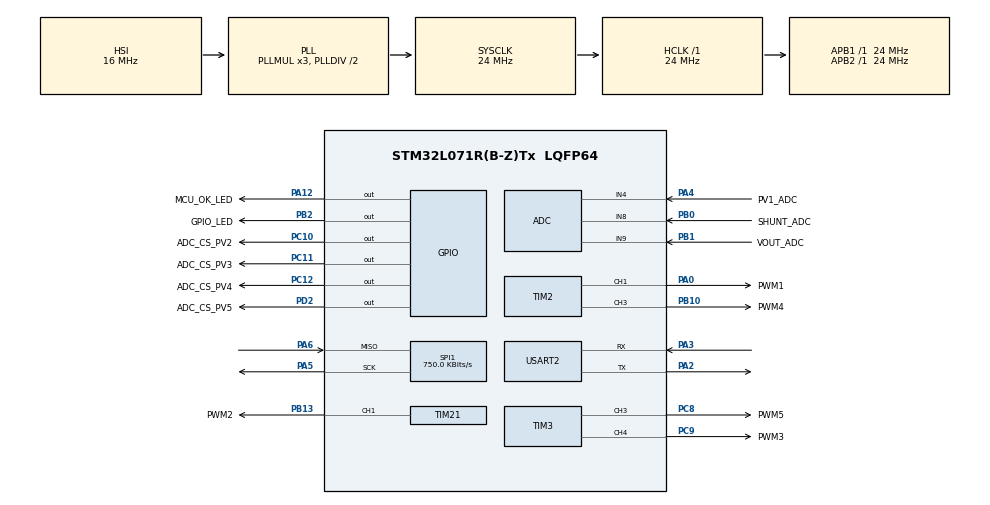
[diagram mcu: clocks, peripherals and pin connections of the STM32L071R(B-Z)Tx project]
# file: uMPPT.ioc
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Dma.Request0=USART2_RX
Dma.Request1=SPI1_RX
Dma.SPI1_RX.1.Direction=DMA_PERIPH_TO_MEMORY
Dma.SPI1_RX.1.Instance=DMA1_Channel2
Dma.SPI1_RX.1.MemDataAlignment=DMA_MDATAALIGN_HALFWORD
Dma.SPI1_RX.1.MemInc=DMA_MINC_ENABLE
Dma.SPI1_RX.1.Mode=DMA_NORMAL
Dma.SPI1_RX.1.PeriphDataAlignment=DMA_PDATAALIGN_HALFWORD
Dma.SPI1_RX.1.PeriphInc=DMA_PINC_DISABLE
Dma.SPI1_RX.1.Priority=DMA_PRIORITY_LOW
Dma.USART2_RX.0.Direction=DMA_PERIPH_TO_MEMORY
Dma.USART2_RX.0.Instance=DMA1_Channel5
Dma.USART2_RX.0.MemDataAlignment=DMA_MDATAALIGN_BYTE
Dma.USART2_RX.0.MemInc=DMA_MINC_ENABLE
Dma.USART2_RX.0.Mode=DMA_NORMAL
Dma.USART2_RX.0.PeriphDataAlignment=DMA_PDATAALIGN_BYTE
Dma.USART2_RX.0.PeriphInc=DMA_PINC_DISABLE
Dma.USART2_RX.0.Priority=DMA_PRIORITY_LOW
Mcu.Family=STM32L0
Mcu.Name=STM32L071R(B-Z)Tx
Mcu.Package=LQFP64
NVIC.DMA1_Channel2_3_IRQn=true\:0\:0\:false\:false\:true\:false\:true\:true
NVIC.DMA1_Channel4_5_6_7_IRQn=true\:0\:0\:false\:false\:true\:false\:true\:true
PA0.GPIO_Label=PWM1
PA0.Signal=S_TIM2_CH1
PA12.GPIO_Label=MCU_OK_LED
PA12.Signal=GPIO_Output
PA13.Mode=Serial_Wire
PA13.Signal=SYS_SWDIO
PA14.Mode=Serial_Wire
PA14.Signal=SYS_SWCLK
PA2.Mode=Asynchronous
PA2.Signal=USART2_TX
PA3.Mode=Asynchronous
PA3.Signal=USART2_RX
PA4.GPIO_Label=PV1_ADC
PA4.Mode=IN4
PA4.Signal=ADC_IN4
PA5.Mode=RX_Only_Simplex_Unidirect_Master
PA5.Signal=SPI1_SCK
PA6.Mode=RX_Only_Simplex_Unidirect_Master
PA6.Signal=SPI1_MISO
PB0.GPIO_Label=SHUNT_ADC
PB0.Mode=IN8
PB0.Signal=ADC_IN8
PB1.GPIO_Label=VOUT_ADC
PB1.Mode=IN9
PB1.Signal=ADC_IN9
PB10.GPIO_Label=PWM4
PB10.Signal=S_TIM2_CH3
PB13.GPIO_Label=PWM2
PB13.Signal=S_TIM21_CH1
PB2.GPIO_Label=GPIO_LED
PB2.Signal=GPIO_Output
PC10.GPIO_Label=ADC_CS_PV2
PC10.Signal=GPIO_Output
PC11.GPIO_Label=ADC_CS_PV3
PC11.Signal=GPIO_Output
PC12.GPIO_Label=ADC_CS_PV4
PC12.Signal=GPIO_Output
PC8.GPIO_Label=PWM5
PC8.Signal=S_TIM3_CH3
PC9.GPIO_Label=PWM3
PC9.Signal=S_TIM3_CH4
PD2.GPIO_Label=ADC_CS_PV5
PD2.Signal=GPIO_Output
PH0-OSC_IN.Mode=HSE-External-Oscillator
PH0-OSC_IN.Signal=RCC_OSC_IN
PH1-OSC_OUT.Mode=HSE-External-Oscillator
PH1-OSC_OUT.Signal=RCC_OSC_OUT
ProjectManager.HeapSize=0x200
ProjectManager.StackSize=0x400
ProjectManager.TargetToolchain=STM32CubeIDE
RCC.AHBFreq_Value=24000000
RCC.APB1Freq_Value=24000000
RCC.APB1TimFreq_Value=24000000
RCC.APB2Freq_Value=24000000
RCC.APB2TimFreq_Value=24000000
RCC.HCLKFreq_Value=24000000
RCC.HSE_VALUE=8000000
RCC.HSI16_VALUE=16000000
RCC.HSI_VALUE=16000000
RCC.LSE_VALUE=32768
RCC.MSI_VALUE=2097000
RCC.SYSCLKFreq_VALUE=24000000
RCC.SYSCLKSource=RCC_SYSCLKSOURCE_PLLCLK
RCC.VCOOutputFreq_Value=48000000
SH.S_TIM21_CH1.0=TIM21_CH1,PWM Generation1 CH1
SH.S_TIM2_CH1.0=TIM2_CH1,PWM Generation1 CH1
SH.S_TIM2_CH3.0=TIM2_CH3,PWM Generation3 CH3
SH.S_TIM3_CH3.0=TIM3_CH3,PWM Generation3 CH3
SH.S_TIM3_CH4.0=TIM3_CH4,PWM Generation4 CH4
SPI1.BaudRatePrescaler=SPI_BAUDRATEPRESCALER_32
SPI1.CLKPolarity=SPI_POLARITY_HIGH
SPI1.CalculateBaudRate=750.0 KBits/s
SPI1.DataSize=SPI_DATASIZE_16BIT
SPI1.Direction=SPI_DIRECTION_2LINES_RXONLY
SPI1.Mode=SPI_MODE_MASTER
SPI1.VirtualType=VM_MASTER
TIM2.Channel-PWM\ Generation1\ CH1=TIM_CHANNEL_1
TIM2.Channel-PWM\ Generation3\ CH3=TIM_CHANNEL_3
TIM2.Pulse-PWM\ Generation1\ CH1=0
TIM2.Pulse-PWM\ Generation3\ CH3=0
TIM21.Channel-PWM\ Generation1\ CH1=TIM_CHANNEL_1
TIM21.Pulse-PWM\ Generation1\ CH1=26793
TIM3.Channel-PWM\ Generation3\ CH3=TIM_CHANNEL_3
TIM3.Channel-PWM\ Generation4\ CH4=TIM_CHANNEL_4
TIM3.Pulse-PWM\ Generation3\ CH3=0
TIM3.Pulse-PWM\ Generation4\ CH4=0
TIM6.Period=999
TIM6.Prescaler=15999
USART2.VirtualMode-Asynchronous=VM_ASYNC
VP_TIM21_VS_ClockSourceINT.Mode=Internal
VP_TIM2_VS_ClockSourceINT.Mode=Internal
VP_TIM3_VS_ClockSourceINT.Mode=Internal
VP_TIM6_VS_ClockSourceINT.Mode=Enable_Timer
board=custom

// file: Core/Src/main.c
/* USER CODE BEGIN Header */
/**
  ******************************************************************************
  * @file           : main.c
  * @brief          : Main program body
  ******************************************************************************
  * @attention
  *
  * Copyright (c) 2023 STMicroelectronics.
  * All rights reserved.
  *
  * This software is licensed under terms that can be found in the LICENSE file
  * in the root directory of this software component.
  * If no LICENSE file comes with this software, it is provided AS-IS.
  *
  ******************************************************************************
  */
/* USER CODE END Header */
#include "main.h"

/* USER CODE BEGIN Includes */
#include "uMPPT.h"
/* USER CODE END Includes */

ADC_HandleTypeDef hadc;

SPI_HandleTypeDef hspi1;
DMA_HandleTypeDef hdma_spi1_rx;

TIM_HandleTypeDef htim2;
TIM_HandleTypeDef htim3;
TIM_HandleTypeDef htim6;
TIM_HandleTypeDef htim21;

UART_HandleTypeDef huart2;
DMA_HandleTypeDef hdma_usart2_rx;

/* USER CODE BEGIN PV */
uint32_t ADC_CH[3] = {ADC_CHANNEL_4, ADC_CHANNEL_9, ADC_CHANNEL_8}; // CH 1, output voltage, output current
uint32_t PWM_CH[5] = {TIM_CHANNEL_1, TIM_CHANNEL_1, TIM_CHANNEL_4, TIM_CHANNEL_3, TIM_CHANNEL_3};
TIM_HandleTypeDef *PWM_handlers[5] = {&htim2, &htim21, &htim3, &htim2, &htim3};

uint32_t CS_Pins[4] = {ADC_CS_PV2_Pin, ADC_CS_PV3_Pin,  ADC_CS_PV4_Pin, ADC_CS_PV5_Pin};
GPIO_TypeDef *CS_Ports[4] = {GPIOC, GPIOC, GPIOC, GPIOD};

struct uMPPT uMPPT_1;
struct uMPPT uMPPT_2;
struct uMPPT uMPPT_3;
struct uMPPT uMPPT_4;
struct uMPPT uMPPT_5;

struct uMPPT* uMPPT_list[5] = {&uMPPT_1, &uMPPT_2, &uMPPT_3, &uMPPT_4, &uMPPT_5};
struct board_parameters board;

uint8_t uMPPT_SPI_inProgress_ID = -1;
/* USER CODE END PV */

void SystemClock_Config(void);
static void MX_GPIO_Init(void);
static void MX_DMA_Init(void);
static void MX_ADC_Init(void);
static void MX_SPI1_Init(void);
static void MX_USART2_UART_Init(void);
static void MX_TIM2_Init(void);
static void MX_TIM3_Init(void);
static void MX_TIM21_Init(void);
static void MX_TIM6_Init(void);

/* USER CODE BEGIN 0 */

float substring_voltage0 = 0;
float substring_voltage1 = 0;
float substring_voltage2 = 0;
float substring_voltage3 = 0;
float substring_voltage4 = 0;

/* USER CODE END 0 */

int main(void)
{

  /* MCU Configuration--------------------------------------------------------*/

  /* Reset of all peripherals, Initializes the Flash interface and the Systick. */
  HAL_Init();

  /* Configure the system clock */
  SystemClock_Config();

  /* Initialize all configured peripherals */
  MX_GPIO_Init();
  MX_DMA_Init();
  MX_ADC_Init();
  MX_SPI1_Init();
  MX_USART2_UART_Init();
  MX_TIM2_Init();
  MX_TIM3_Init();
  MX_TIM21_Init();
  MX_TIM6_Init();
  /* USER CODE BEGIN 2 */

  board.CS_Pins = CS_Pins;
  board.CS_Ports = CS_Ports;
  board.hspi_handle = &hspi1;
  board.huart_handle = &huart2;
  board.PWM_timers = PWM_handlers;
  board.PWM_channels = PWM_CH;
  board.ADC_channels = ADC_CH;
  board.hadc_handle = &hadc;
  board.uMPPTs = uMPPT_list;

  config_uMPPT(&board);

  /* USER CODE END 2 */

  /* Infinite loop */
  while (1)
  {

    /* USER CODE BEGIN 3 */
//	  substring_voltage1 = ADC_readVoltage(1, &board);
//	  ADC_sleepMode(1, &board);
//	  HAL_Delay(1);
//
//	  substring_voltage2 = ADC_readVoltage(2, &board);
//	  ADC_sleepMode(2, &board);
////	  HAL_Delay(1);
//
	  substring_voltage3 = ADC_readVoltage(3, &board);
//	  ADC_sleepMode(3, &board);
//	  HAL_Delay(1);
//
//	  substring_voltage4 = ADC_readVoltage(4, &board);
//	  ADC_sleepMode(4, &board);

  }
  /* USER CODE END 3 */
}

void SystemClock_Config(void)
{
  RCC_OscInitTypeDef RCC_OscInitStruct = {0};
  RCC_ClkInitTypeDef RCC_ClkInitStruct = {0};
  RCC_PeriphCLKInitTypeDef PeriphClkInit = {0};

  /** Configure the main internal regulator output voltage
  */
  __HAL_PWR_VOLTAGESCALING_CONFIG(PWR_REGULATOR_VOLTAGE_SCALE1);

  /** Initializes the RCC Oscillators according to the specified parameters
  * in the RCC_OscInitTypeDef structure.
  */
  RCC_OscInitStruct.OscillatorType = RCC_OSCILLATORTYPE_HSI;
  RCC_OscInitStruct.HSIState = RCC_HSI_ON;
  RCC_OscInitStruct.HSICalibrationValue = RCC_HSICALIBRATION_DEFAULT;
  RCC_OscInitStruct.PLL.PLLState = RCC_PLL_ON;
  RCC_OscInitStruct.PLL.PLLSource = RCC_PLLSOURCE_HSI;
  RCC_OscInitStruct.PLL.PLLMUL = RCC_PLLMUL_3;
  RCC_OscInitStruct.PLL.PLLDIV = RCC_PLLDIV_2;
  if (HAL_RCC_OscConfig(&RCC_OscInitStruct) != HAL_OK)
  {
    Error_Handler();
  }

  /** Initializes the CPU, AHB and APB buses clocks
  */
  RCC_ClkInitStruct.ClockType = RCC_CLOCKTYPE_HCLK|RCC_CLOCKTYPE_SYSCLK
                              |RCC_CLOCKTYPE_PCLK1|RCC_CLOCKTYPE_PCLK2;
  RCC_ClkInitStruct.SYSCLKSource = RCC_SYSCLKSOURCE_PLLCLK;
  RCC_ClkInitStruct.AHBCLKDivider = RCC_SYSCLK_DIV1;
  RCC_ClkInitStruct.APB1CLKDivider = RCC_HCLK_DIV1;
  RCC_ClkInitStruct.APB2CLKDivider = RCC_HCLK_DIV1;

  if (HAL_RCC_ClockConfig(&RCC_ClkInitStruct, FLASH_LATENCY_1) != HAL_OK)
  {
    Error_Handler();
  }
  PeriphClkInit.PeriphClockSelection = RCC_PERIPHCLK_USART2;
  PeriphClkInit.Usart2ClockSelection = RCC_USART2CLKSOURCE_PCLK1;
  if (HAL_RCCEx_PeriphCLKConfig(&PeriphClkInit) != HAL_OK)
  {
    Error_Handler();
  }
}

static void MX_ADC_Init(void)
{

  ADC_ChannelConfTypeDef sConfig = {0};

  /** Configure the global features of the ADC (Clock, Resolution, Data Alignment and number of conversion)
  */
  hadc.Instance = ADC1;
  hadc.Init.OversamplingMode = DISABLE;
  hadc.Init.ClockPrescaler = ADC_CLOCK_SYNC_PCLK_DIV2;
  hadc.Init.Resolution = ADC_RESOLUTION_12B;
  hadc.Init.SamplingTime = ADC_SAMPLETIME_1CYCLE_5;
  hadc.Init.ScanConvMode = ADC_SCAN_DIRECTION_FORWARD;
  hadc.Init.DataAlign = ADC_DATAALIGN_RIGHT;
  hadc.Init.ContinuousConvMode = DISABLE;
  hadc.Init.DiscontinuousConvMode = DISABLE;
  hadc.Init.ExternalTrigConvEdge = ADC_EXTERNALTRIGCONVEDGE_NONE;
  hadc.Init.ExternalTrigConv = ADC_SOFTWARE_START;
  hadc.Init.DMAContinuousRequests = DISABLE;
  hadc.Init.EOCSelection = ADC_EOC_SINGLE_CONV;
  hadc.Init.Overrun = ADC_OVR_DATA_PRESERVED;
  hadc.Init.LowPowerAutoWait = DISABLE;
  hadc.Init.LowPowerFrequencyMode = DISABLE;
  hadc.Init.LowPowerAutoPowerOff = DISABLE;
  if (HAL_ADC_Init(&hadc) != HAL_OK)
  {
    Error_Handler();
  }

  /** Configure for the selected ADC regular channel to be converted.
  */
  sConfig.Channel = ADC_CHANNEL_4;
  sConfig.Rank = ADC_RANK_CHANNEL_NUMBER;
  if (HAL_ADC_ConfigChannel(&hadc, &sConfig) != HAL_OK)
  {
    Error_Handler();
  }

  /** Configure for the selected ADC regular channel to be converted.
  */
  sConfig.Channel = ADC_CHANNEL_8;
  if (HAL_ADC_ConfigChannel(&hadc, &sConfig) != HAL_OK)
  {
    Error_Handler();
  }

  /** Configure for the selected ADC regular channel to be converted.
  */
  sConfig.Channel = ADC_CHANNEL_9;
  if (HAL_ADC_ConfigChannel(&hadc, &sConfig) != HAL_OK)
  {
    Error_Handler();
  }

}

static void MX_SPI1_Init(void)
{

  /* SPI1 parameter configuration*/
  hspi1.Instance = SPI1;
  hspi1.Init.Mode = SPI_MODE_MASTER;
  hspi1.Init.Direction = SPI_DIRECTION_2LINES_RXONLY;
  hspi1.Init.DataSize = SPI_DATASIZE_16BIT;
  hspi1.Init.CLKPolarity = SPI_POLARITY_HIGH;
  hspi1.Init.CLKPhase = SPI_PHASE_1EDGE;
  hspi1.Init.NSS = SPI_NSS_SOFT;
  hspi1.Init.BaudRatePrescaler = SPI_BAUDRATEPRESCALER_32;
  hspi1.Init.FirstBit = SPI_FIRSTBIT_MSB;
  hspi1.Init.TIMode = SPI_TIMODE_DISABLE;
  hspi1.Init.CRCCalculation = SPI_CRCCALCULATION_DISABLE;
  hspi1.Init.CRCPolynomial = 7;
  if (HAL_SPI_Init(&hspi1) != HAL_OK)
  {
    Error_Handler();
  }

}

static void MX_TIM2_Init(void)
{

  TIM_ClockConfigTypeDef sClockSourceConfig = {0};
  TIM_MasterConfigTypeDef sMasterConfig = {0};
  TIM_OC_InitTypeDef sConfigOC = {0};

  htim2.Instance = TIM2;
  htim2.Init.Prescaler = 0;
  htim2.Init.CounterMode = TIM_COUNTERMODE_UP;
  htim2.Init.Period = 65535;
  htim2.Init.ClockDivision = TIM_CLOCKDIVISION_DIV1;
  htim2.Init.AutoReloadPreload = TIM_AUTORELOAD_PRELOAD_DISABLE;
  if (HAL_TIM_Base_Init(&htim2) != HAL_OK)
  {
    Error_Handler();
  }
  sClockSourceConfig.ClockSource = TIM_CLOCKSOURCE_INTERNAL;
  if (HAL_TIM_ConfigClockSource(&htim2, &sClockSourceConfig) != HAL_OK)
  {
    Error_Handler();
  }
  if (HAL_TIM_PWM_Init(&htim2) != HAL_OK)
  {
    Error_Handler();
  }
  sMasterConfig.MasterOutputTrigger = TIM_TRGO_RESET;
  sMasterConfig.MasterSlaveMode = TIM_MASTERSLAVEMODE_DISABLE;
  if (HAL_TIMEx_MasterConfigSynchronization(&htim2, &sMasterConfig) != HAL_OK)
  {
    Error_Handler();
  }
  sConfigOC.OCMode = TIM_OCMODE_PWM1;
  sConfigOC.Pulse = 0;
  sConfigOC.OCPolarity = TIM_OCPOLARITY_HIGH;
  sConfigOC.OCFastMode = TIM_OCFAST_DISABLE;
  if (HAL_TIM_PWM_ConfigChannel(&htim2, &sConfigOC, TIM_CHANNEL_1) != HAL_OK)
  {
    Error_Handler();
  }
  if (HAL_TIM_PWM_ConfigChannel(&htim2, &sConfigOC, TIM_CHANNEL_3) != HAL_OK)
  {
    Error_Handler();
  }
  HAL_TIM_MspPostInit(&htim2);

}

static void MX_TIM3_Init(void)
{

  TIM_ClockConfigTypeDef sClockSourceConfig = {0};
  TIM_MasterConfigTypeDef sMasterConfig = {0};
  TIM_OC_InitTypeDef sConfigOC = {0};

  htim3.Instance = TIM3;
  htim3.Init.Prescaler = 0;
  htim3.Init.CounterMode = TIM_COUNTERMODE_UP;
  htim3.Init.Period = 65535;
  htim3.Init.ClockDivision = TIM_CLOCKDIVISION_DIV1;
  htim3.Init.AutoReloadPreload = TIM_AUTORELOAD_PRELOAD_DISABLE;
  if (HAL_TIM_Base_Init(&htim3) != HAL_OK)
  {
    Error_Handler();
  }
  sClockSourceConfig.ClockSource = TIM_CLOCKSOURCE_INTERNAL;
  if (HAL_TIM_ConfigClockSource(&htim3, &sClockSourceConfig) != HAL_OK)
  {
    Error_Handler();
  }
  if (HAL_TIM_PWM_Init(&htim3) != HAL_OK)
  {
    Error_Handler();
  }
  sMasterConfig.MasterOutputTrigger = TIM_TRGO_RESET;
  sMasterConfig.MasterSlaveMode = TIM_MASTERSLAVEMODE_DISABLE;
  if (HAL_TIMEx_MasterConfigSynchronization(&htim3, &sMasterConfig) != HAL_OK)
  {
    Error_Handler();
  }
  sConfigOC.OCMode = TIM_OCMODE_PWM1;
  sConfigOC.Pulse = 0;
  sConfigOC.OCPolarity = TIM_OCPOLARITY_HIGH;
  sConfigOC.OCFastMode = TIM_OCFAST_DISABLE;
  if (HAL_TIM_PWM_ConfigChannel(&htim3, &sConfigOC, TIM_CHANNEL_3) != HAL_OK)
  {
    Error_Handler();
  }
  if (HAL_TIM_PWM_ConfigChannel(&htim3, &sConfigOC, TIM_CHANNEL_4) != HAL_OK)
  {
    Error_Handler();
  }
  if (HAL_TIMEx_RemapConfig(&htim3, TIM3_TI4_GPIOC9_AF2) != HAL_OK)
  {
    Error_Handler();
  }
  HAL_TIM_MspPostInit(&htim3);

}

static void MX_TIM6_Init(void)
{

  TIM_MasterConfigTypeDef sMasterConfig = {0};

  htim6.Instance = TIM6;
  htim6.Init.Prescaler = 15999;
  htim6.Init.CounterMode = TIM_COUNTERMODE_UP;
  htim6.Init.Period = 999;
  htim6.Init.AutoReloadPreload = TIM_AUTORELOAD_PRELOAD_DISABLE;
  if (HAL_TIM_Base_Init(&htim6) != HAL_OK)
  {
    Error_Handler();
  }
  sMasterConfig.MasterOutputTrigger = TIM_TRGO_RESET;
  sMasterConfig.MasterSlaveMode = TIM_MASTERSLAVEMODE_DISABLE;
  if (HAL_TIMEx_MasterConfigSynchronization(&htim6, &sMasterConfig) != HAL_OK)
  {
    Error_Handler();
  }

}

static void MX_TIM21_Init(void)
{

  TIM_ClockConfigTypeDef sClockSourceConfig = {0};
  TIM_MasterConfigTypeDef sMasterConfig = {0};
  TIM_OC_InitTypeDef sConfigOC = {0};

  htim21.Instance = TIM21;
  htim21.Init.Prescaler = 0;
  htim21.Init.CounterMode = TIM_COUNTERMODE_UP;
  htim21.Init.Period = 65535;
  htim21.Init.ClockDivision = TIM_CLOCKDIVISION_DIV1;
  htim21.Init.AutoReloadPreload = TIM_AUTORELOAD_PRELOAD_DISABLE;
  if (HAL_TIM_Base_Init(&htim21) != HAL_OK)
  {
    Error_Handler();
  }
  sClockSourceConfig.ClockSource = TIM_CLOCKSOURCE_INTERNAL;
  if (HAL_TIM_ConfigClockSource(&htim21, &sClockSourceConfig) != HAL_OK)
  {
    Error_Handler();
  }
  if (HAL_TIM_PWM_Init(&htim21) != HAL_OK)
  {
    Error_Handler();
  }
  sMasterConfig.MasterOutputTrigger = TIM_TRGO_RESET;
  sMasterConfig.MasterSlaveMode = TIM_MASTERSLAVEMODE_DISABLE;
  if (HAL_TIMEx_MasterConfigSynchronization(&htim21, &sMasterConfig) != HAL_OK)
  {
    Error_Handler();
  }
  sConfigOC.OCMode = TIM_OCMODE_PWM1;
  sConfigOC.Pulse = 26793;
  sConfigOC.OCPolarity = TIM_OCPOLARITY_HIGH;
  sConfigOC.OCFastMode = TIM_OCFAST_DISABLE;
  if (HAL_TIM_PWM_ConfigChannel(&htim21, &sConfigOC, TIM_CHANNEL_1) != HAL_OK)
  {
    Error_Handler();
  }
  HAL_TIM_MspPostInit(&htim21);

}

static void MX_USART2_UART_Init(void)
{

  huart2.Instance = USART2;
  huart2.Init.BaudRate = 115200;
  huart2.Init.WordLength = UART_WORDLENGTH_8B;
  huart2.Init.StopBits = UART_STOPBITS_1;
  huart2.Init.Parity = UART_PARITY_NONE;
  huart2.Init.Mode = UART_MODE_TX_RX;
  huart2.Init.HwFlowCtl = UART_HWCONTROL_NONE;
  huart2.Init.OverSampling = UART_OVERSAMPLING_16;
  huart2.Init.OneBitSampling = UART_ONE_BIT_SAMPLE_DISABLE;
  huart2.AdvancedInit.AdvFeatureInit = UART_ADVFEATURE_NO_INIT;
  if (HAL_UART_Init(&huart2) != HAL_OK)
  {
    Error_Handler();
  }

}

static void MX_DMA_Init(void)
{

  /* DMA controller clock enable */
  __HAL_RCC_DMA1_CLK_ENABLE();

  /* DMA interrupt init */
  /* DMA1_Channel2_3_IRQn interrupt configuration */
  HAL_NVIC_SetPriority(DMA1_Channel2_3_IRQn, 0, 0);
  HAL_NVIC_EnableIRQ(DMA1_Channel2_3_IRQn);
  /* DMA1_Channel4_5_6_7_IRQn interrupt configuration */
  HAL_NVIC_SetPriority(DMA1_Channel4_5_6_7_IRQn, 0, 0);
  HAL_NVIC_EnableIRQ(DMA1_Channel4_5_6_7_IRQn);

}

static void MX_GPIO_Init(void)
{
  GPIO_InitTypeDef GPIO_InitStruct = {0};

  /* GPIO Ports Clock Enable */
  __HAL_RCC_GPIOH_CLK_ENABLE();
  __HAL_RCC_GPIOA_CLK_ENABLE();
  __HAL_RCC_GPIOB_CLK_ENABLE();
  __HAL_RCC_GPIOC_CLK_ENABLE();
  __HAL_RCC_GPIOD_CLK_ENABLE();

  /*Configure GPIO pin Output Level */
  HAL_GPIO_WritePin(GPIO_LED_GPIO_Port, GPIO_LED_Pin, GPIO_PIN_RESET);

  /*Configure GPIO pin Output Level */
  HAL_GPIO_WritePin(MCU_OK_LED_GPIO_Port, MCU_OK_LED_Pin, GPIO_PIN_RESET);

  /*Configure GPIO pin Output Level */
  HAL_GPIO_WritePin(GPIOC, ADC_CS_PV2_Pin|ADC_CS_PV3_Pin|ADC_CS_PV4_Pin, GPIO_PIN_RESET);

  /*Configure GPIO pin Output Level */
  HAL_GPIO_WritePin(ADC_CS_PV5_GPIO_Port, ADC_CS_PV5_Pin, GPIO_PIN_RESET);

  /*Configure GPIO pin : GPIO_LED_Pin */
  GPIO_InitStruct.Pin = GPIO_LED_Pin;
  GPIO_InitStruct.Mode = GPIO_MODE_OUTPUT_PP;
  GPIO_InitStruct.Pull = GPIO_NOPULL;
  GPIO_InitStruct.Speed = GPIO_SPEED_FREQ_LOW;
  HAL_GPIO_Init(GPIO_LED_GPIO_Port, &GPIO_InitStruct);

  /*Configure GPIO pin : MCU_OK_LED_Pin */
  GPIO_InitStruct.Pin = MCU_OK_LED_Pin;
  GPIO_InitStruct.Mode = GPIO_MODE_OUTPUT_PP;
  GPIO_InitStruct.Pull = GPIO_NOPULL;
  GPIO_InitStruct.Speed = GPIO_SPEED_FREQ_LOW;
  HAL_GPIO_Init(MCU_OK_LED_GPIO_Port, &GPIO_InitStruct);

  /*Configure GPIO pins : ADC_CS_PV2_Pin ADC_CS_PV3_Pin ADC_CS_PV4_Pin */
  GPIO_InitStruct.Pin = ADC_CS_PV2_Pin|ADC_CS_PV3_Pin|ADC_CS_PV4_Pin;
  GPIO_InitStruct.Mode = GPIO_MODE_OUTPUT_PP;
  GPIO_InitStruct.Pull = GPIO_NOPULL;
  GPIO_InitStruct.Speed = GPIO_SPEED_FREQ_LOW;
  HAL_GPIO_Init(GPIOC, &GPIO_InitStruct);

  /*Configure GPIO pin : ADC_CS_PV5_Pin */
  GPIO_InitStruct.Pin = ADC_CS_PV5_Pin;
  GPIO_InitStruct.Mode = GPIO_MODE_OUTPUT_PP;
  GPIO_InitStruct.Pull = GPIO_NOPULL;
  GPIO_InitStruct.Speed = GPIO_SPEED_FREQ_LOW;
  HAL_GPIO_Init(ADC_CS_PV5_GPIO_Port, &GPIO_InitStruct);

}

/* USER CODE BEGIN 4 */

void HAL_SPI_RxHalfCpltCallback(SPI_HandleTypeDef *hspi){

	board.uMPPTs[uMPPT_SPI_inProgress_ID]->sleeping = 1;
	HAL_GPIO_WritePin(board.CS_Ports[uMPPT_SPI_inProgress_ID], board.CS_Pins[uMPPT_SPI_inProgress_ID], GPIO_PIN_SET);
	uMPPT_SPI_inProgress_ID = 0;
}

/* USER CODE END 4 */

void Error_Handler(void)
{
  __disable_irq();
  while (1)
  {
  }
}
